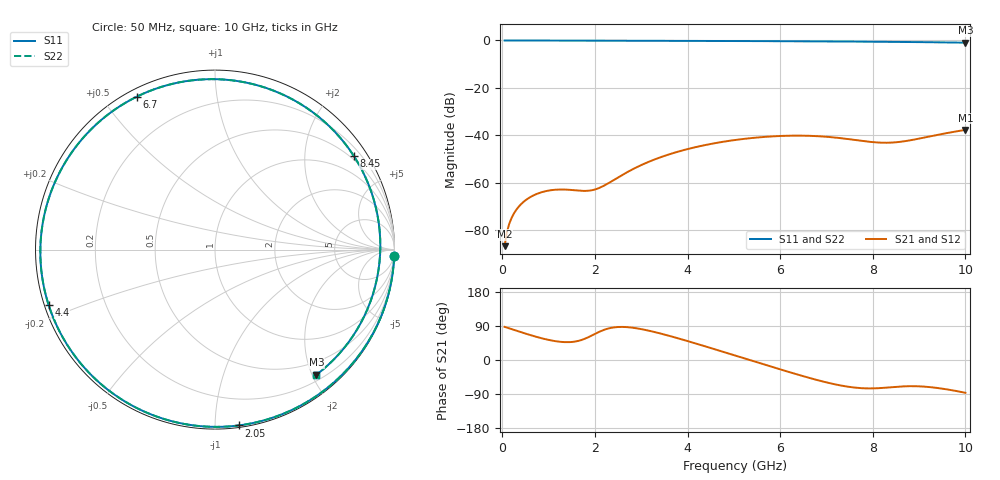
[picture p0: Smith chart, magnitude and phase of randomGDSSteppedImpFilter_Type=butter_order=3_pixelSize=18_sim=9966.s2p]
! freq	dB(S11)	phase(S11)	dB(S12)	phase(S12)
!  dB(S21)	phase(S21)	dB(S22)	phase(S22)
!S-par simulation data
#  GHz  S  DB  R 50
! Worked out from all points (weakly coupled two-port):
!   200 points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, 50 MHz to 10 GHz, reference 50 ohm
!   highest |S21| = -37.72 dB at 10 GHz (marker M1); lowest = -86.7 dB at 50 MHz (marker M2)
!   lowest |S11| = -0.9 dB at 10 GHz (marker M3), VSWR 18.49, Z = 14.4 - j103 ohm
!   |S11| at or under -10 dB: nowhere
!   |S22| runs from -0.9 to 0.0 dB; largest |S21 - S12| = 0
!   S11 on the Smith chart (normalised r, x): 50 MHz: 1, -53; 2.05 GHz: 0.01, -1.15; 4.4 GHz: 0.01, -0.16; 6.7 GHz: 0.03, +0.61; 8.45 GHz: 0.40, +3.24; 10 GHz: 0.29, -2.06
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0.05  -0.01 -2.2  -86.74 87.5  -86.74 87.5  -0.01 -2.2
0.1  -0.01 -4.3  -80.79 85.5  -80.79 85.5  -0.01 -4.3
0.2  -0.01 -8.5  -74.86 81.5  -74.86 81.5  -0.01 -8.5
0.35  -0.02 -14.8  -70.20 75.6  -70.20 75.6  -0.02 -14.8
0.65  -0.03 -27.3  -65.57 64.1  -65.57 64.1  -0.03 -27.3
1.1  -0.06 -45.7  -63.03 50.6  -63.03 50.6  -0.06 -45.7
1.75  -0.09 -71.0  -63.43 54.5  -63.43 54.5  -0.09 -71.0
2.05  -0.10 -82.2  -62.53 71.8  -62.53 71.8  -0.10 -82.2
2.7  -0.12 -105.4  -55.52 86.7  -55.52 86.7  -0.12 -105.4
3.4  -0.15 -129.1  -49.37 70.4  -49.37 70.4  -0.15 -129.1
4.4  -0.20 -161.6  -44.03 35.4  -44.03 35.4  -0.20 -161.6
5.05  -0.24 177.2  -41.92 11.0  -41.92 11.0  -0.24 177.1
5.9  -0.31 147.8  -40.38 -21.0  -40.38 -21.0  -0.31 147.8
6.7  -0.38 117.1  -40.27 -49.6  -40.27 -49.6  -0.38 117.1
7.55  -0.48 79.6  -41.79 -71.9  -41.79 -71.9  -0.48 79.5
7.95  -0.53 60.0  -42.78 -75.0  -42.78 -75.0  -0.53 59.9
8.35  -0.59 39.2  -43.11 -72.4  -43.11 -72.4  -0.59 39.1
8.45  -0.60 33.8  -43.02 -71.4  -43.02 -71.4  -0.60 33.8
8.85  -0.67 12.0  -41.96 -69.1  -41.96 -69.1  -0.67 12.0
9.2  -0.74 -7.4  -40.60 -71.1  -40.60 -71.1  -0.74 -7.4
9.6  -0.84 -29.4  -39.06 -77.5  -39.06 -77.5  -0.84 -29.5
10  -0.94 -51.0  -37.72 -86.5  -37.72 -86.5  -0.94 -51.1
